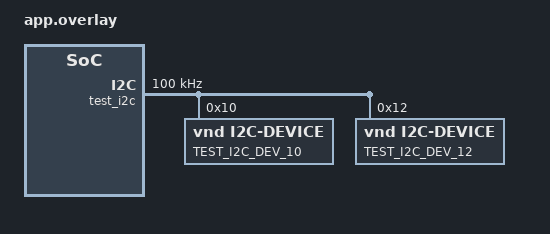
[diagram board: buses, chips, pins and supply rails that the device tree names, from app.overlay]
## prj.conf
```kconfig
CONFIG_ZTEST=y
CONFIG_PM_DEVICE=y
CONFIG_PM=y

CONFIG_I2C=n
```

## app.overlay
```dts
/*
 * Copyright (c) 2021 Intel Corporation
 * Copyright (c) 2020 Nordic Semiconductor ASA
 *
 * SPDX-License-Identifier: Apache-2.0
 *
 * Application overlay for testing device dependencies.
 *
 * Names in this file should be chosen in a way that won't conflict
 * with real-world devicetree nodes, to allow these tests to run on
 * (and be extended to test) real hardware.
 */

/ {
	test {
		#address-cells = <0x1>;
		#size-cells = <0x1>;

		test_i2c: i2c@11112222 {
			#address-cells = <1>;
			#size-cells = <0>;
			compatible = "vnd,i2c";
			status = "okay";
			reg = <0x11112222 0x1000>;
			clock-frequency = <100000>;
			label = "TEST_I2C_CTLR";

			test_dev_a: test-i2c-dev@10 {
				compatible = "vnd,i2c-device";
				status = "okay";
				reg = <0x10>;
				label = "TEST_I2C_DEV_10";
			};

			test_dev_b: test-i2c-dev@12 {
				compatible = "vnd,i2c-device";
				status = "okay";
				reg = <0x12>;
				label = "TEST_I2C_DEV_12";
			};
		};
	};
};
```

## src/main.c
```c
/*
 * Copyright (c) 2021 Intel Corporation.
 *
 * SPDX-License-Identifier: Apache-2.0
 */

#include <zephyr.h>
#include <ztest.h>
#include <device.h>
#include <pm/pm.h>

#define TEST_I2C DT_NODELABEL(test_i2c)
#define TEST_DEVA DT_NODELABEL(test_dev_a)
#define TEST_DEVB DT_NODELABEL(test_dev_b)


static int dev_init(const struct device *dev)
{
	ARG_UNUSED(dev);

	return 0;
}

/* Device don't need to do anything here. What we are testing
 * is the subsystem
 */
static int dev_pm_control(const struct device *dev,
		    enum pm_device_action action)
{
	ARG_UNUSED(dev);
	ARG_UNUSED(action);

	return 0;
}

DEVICE_DT_DEFINE(TEST_I2C, dev_init, dev_pm_control,
		 NULL, NULL, POST_KERNEL, 10, NULL);
DEVICE_DT_DEFINE(TEST_DEVA, dev_init, dev_pm_control,
		 NULL, NULL, POST_KERNEL, 20, NULL);
DEVICE_DT_DEFINE(TEST_DEVB, dev_init, dev_pm_control,
		 NULL, NULL, POST_KERNEL, 20, NULL);

static const struct device *dev_i2c, *dev_a, *dev_b;

static void test_parent_suspend(void)
{
	int ret;

	dev_i2c = DEVICE_DT_GET(TEST_I2C);
	zassert_not_null(dev_i2c, "Failed to get device");

	dev_a = DEVICE_DT_GET(TEST_DEVA);
	zassert_not_null(dev_a, "Failed to get device");

	dev_b = DEVICE_DT_GET(TEST_DEVB);
	zassert_not_null(dev_b, "Failed to get device");

	ret = pm_device_state_set(dev_i2c, PM_DEVICE_STATE_SUSPENDED);
	/* dev_i2c shall not be suspended because there are active
	 * devices depending on it.
	 */
	zassert_not_equal(ret, 0, "Device I2C should not be suspended");

	ret = pm_device_state_set(dev_a, PM_DEVICE_STATE_SUSPENDED);
	/* dev_a shall be suspended because there is no one depending on it */
	zassert_equal(ret, 0, "Device A should be suspended");

	ret = pm_device_state_set(dev_b, PM_DEVICE_STATE_SUSPENDED);
	/* dev_b shall be suspended because there is no one depending on it */
	zassert_equal(ret, 0, "Device B should be suspended");

	ret = pm_device_state_set(dev_i2c, PM_DEVICE_STATE_SUSPENDED);
	/* dev_i2c shall be suspended now because all children were
	 * suspended
	 */
	zassert_equal(ret, 0, "Device I2C should be suspended");
}

static void test_child_resume(void)
{
	int ret;
	enum pm_device_state state;

	(void)pm_device_state_get(dev_i2c, &state);
	zassert_equal(state, PM_DEVICE_STATE_SUSPENDED, "dev_i2c should be suspended");

	ret = pm_device_state_set(dev_a, PM_DEVICE_STATE_ACTIVE);
	/* dev_a shall be suspended because there is no one depending on it */
	zassert_equal(ret, 0, "Device A should be active");

	(void)pm_device_state_get(dev_i2c, &state);
	zassert_equal(state, PM_DEVICE_STATE_ACTIVE, "dev_i2c should be active");
}

static void test_ignore_children(void)
{
	bool check;
	int ret;
	enum pm_device_state state;

	check = pm_device_ignore_children_enable((struct device *)dev_i2c, true);
	zassert_true(check, "Failed to set ignore children flag");

	check = pm_device_ignore_children_is_enabled(dev_i2c);
	zassert_true(check, "Ignore children flag was not set");

	ret = pm_device_state_set(dev_i2c, PM_DEVICE_STATE_SUSPENDED);
	/* dev_i2c shall be suspended because ignore-children flag is set */
	zassert_equal(ret, 0, "Device I2C should not be suspended");

	(void)pm_device_state_get(dev_i2c, &state);
	zassert_equal(state, PM_DEVICE_STATE_SUSPENDED, "dev_i2c should be suspended");

	(void)pm_device_state_get(dev_a, &state);
	zassert_equal(state, PM_DEVICE_STATE_ACTIVE, "dev_a should still be active");
}

void test_main(void)
{
	ztest_test_suite(device_dependencies_test,
			 ztest_1cpu_unit_test(test_parent_suspend),
			 ztest_1cpu_unit_test(test_child_resume),
			 ztest_1cpu_unit_test(test_ignore_children)
		);
	ztest_run_test_suite(device_dependencies_test);
}
```
